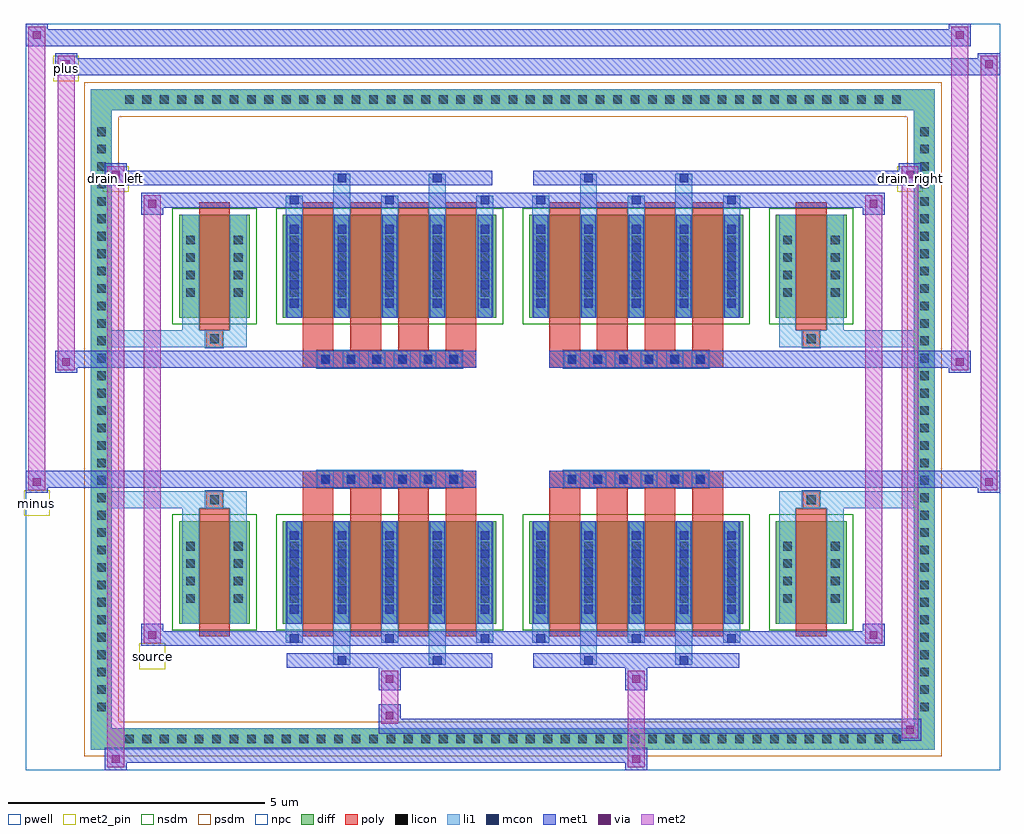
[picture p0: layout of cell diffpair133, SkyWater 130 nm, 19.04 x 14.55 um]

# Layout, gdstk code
import gdstk
lib = gdstk.Library(unit=1e-6, precision=5e-09)
def R(c, l, rs):  # rectangles x0, y0, x1, y1
    for r in rs: c.add(gdstk.rectangle(r[:2], r[2:], *l))
def A(c, l, x, y, w, h, nx, ny, dx, dy):  # array of equal rectangles
    R(c, l, [(x+i*dx, y+j*dy, x+i*dx+w, y+j*dy+h) for i in range(nx) for j in range(ny)])
def P(c, l, *ps):  # polygons
    for p in ps: c.add(gdstk.Polygon(p, *l))
pwell = (64, 44)
diff = (65, 20)
poly = (66, 20)
licon = (66, 44)
li1 = (67, 20)
mcon = (67, 44)
met1 = (68, 20)
via = (68, 44)
met2_pin = (69, 16)
met2 = (69, 20)
nsdm = (93, 44)
psdm = (94, 20)
npc = (95, 20)

diffpair133 = lib.new_cell('diffpair133')
R(diffpair133, pwell, [(-9.5,-6.84,9.5,7.71), (-6.82,-5.03,-0.01,-0.805), (0.01,-5.03,6.82,-0.805), (-6.82,0.805,-0.01,5.03), (0.01,0.805,6.82,5.03)])
A(diffpair133, diff, -7.685, -6.44, 0.41, 0.41, 45, 2, 0.34, 12.47)
A(diffpair133, diff, -8.23, -5.815, 0.41, 0.41, 1, 34, 0, 0.34)
A(diffpair133, diff, 7.82, -5.815, 0.41, 0.41, 1, 34, 0, 0.34)
R(diffpair133, diff, [(-7.685,-6.44,7.685,-6.03), (-8.23,-5.815,-7.82,5.815), (7.82,-5.815,8.23,5.815), (-6.51,-3.985,-5.13,-1.985), (-4.49,-3.985,-0.32,-1.985), (0.32,-3.985,4.49,-1.985), (5.13,-3.985,6.51,-1.985), (-6.51,1.985,-5.13,3.985), (-4.49,1.985,-0.32,3.985), (0.32,1.985,4.49,3.985), (5.13,1.985,6.51,3.985), (-7.685,6.03,7.685,6.44)])
P(diffpair133, diff, [(8.23,6.44),(-8.23,6.44),(-8.23,-6.03),(-7.82,-6.03),(-7.82,6.03),(7.82,6.03),(7.82,-6.03),(-7.82,-6.03),(-8.23,-6.03),(-8.23,-6.44),(8.23,-6.44)])
A(diffpair133, poly, -4.1, -4.235, 0.6, 2.5, 4, 2, 0.93, 5.97)
A(diffpair133, poly, 0.71, -4.235, 0.6, 2.5, 4, 2, 0.93, 5.97)
A(diffpair133, poly, -4.1, -1.735, 0.6, 0.4, 4, 2, 0.93, 3.07)
A(diffpair133, poly, 0.71, -1.735, 0.6, 0.4, 4, 2, 0.93, 3.07)
A(diffpair133, poly, -3.82, -1.335, 0.33, 0.33, 6, 2, 0.5, 2.34)
A(diffpair133, poly, 0.99, -1.335, 0.33, 0.33, 6, 2, 0.5, 2.34)
R(diffpair133, poly, [(-6.12,-4.235,-5.52,-1.735), (5.52,-4.235,6.12,-1.735), (-5.985,-1.735,-5.655,-1.405), (-5.985,-1.735,-5.655,-1.405), (5.655,-1.735,5.985,-1.405), (5.655,-1.735,5.985,-1.405), (-4.1,-1.335,-0.71,-1.005), (0.71,-1.335,4.1,-1.005), (-4.1,1.005,-0.71,1.335), (0.71,1.005,4.1,1.335), (-5.985,1.405,-5.655,1.735), (-5.985,1.405,-5.655,1.735), (5.655,1.405,5.985,1.735), (5.655,1.405,5.985,1.735), (-6.12,1.735,-5.52,4.235), (5.52,1.735,6.12,4.235)])
A(diffpair133, licon, -7.565, -6.32, 0.17, 0.17, 45, 2, 0.34, 12.47)
A(diffpair133, licon, -8.11, -5.695, 0.17, 0.17, 1, 34, 0, 0.34)
A(diffpair133, licon, 7.94, -5.695, 0.17, 0.17, 1, 34, 0, 0.34)
A(diffpair133, licon, -6.37, -3.58, 0.17, 0.17, 1, 4, 0, 0.34)
A(diffpair133, licon, -5.44, -3.58, 0.17, 0.17, 1, 4, 0, 0.34)
A(diffpair133, licon, -4.35, -3.58, 0.17, 0.17, 5, 4, 0.93, 0.34)
A(diffpair133, licon, 0.46, -3.58, 0.17, 0.17, 5, 4, 0.93, 0.34)
A(diffpair133, licon, 5.27, -3.58, 0.17, 0.17, 1, 4, 0, 0.34)
A(diffpair133, licon, 6.2, -3.58, 0.17, 0.17, 1, 4, 0, 0.34)
A(diffpair133, licon, -3.74, -1.255, 0.17, 0.17, 6, 2, 0.5, 2.34)
A(diffpair133, licon, 1.07, -1.255, 0.17, 0.17, 6, 2, 0.5, 2.34)
A(diffpair133, licon, -6.37, 2.39, 0.17, 0.17, 1, 4, 0, 0.34)
A(diffpair133, licon, -5.44, 2.39, 0.17, 0.17, 1, 4, 0, 0.34)
A(diffpair133, licon, -4.35, 2.39, 0.17, 0.17, 5, 4, 0.93, 0.34)
A(diffpair133, licon, 0.46, 2.39, 0.17, 0.17, 5, 4, 0.93, 0.34)
A(diffpair133, licon, 5.27, 2.39, 0.17, 0.17, 1, 4, 0, 0.34)
A(diffpair133, licon, 6.2, 2.39, 0.17, 0.17, 1, 4, 0, 0.34)
R(diffpair133, licon, [(-5.905,-1.655,-5.735,-1.485), (5.735,-1.655,5.905,-1.485), (-5.905,1.485,-5.735,1.655), (5.735,1.485,5.905,1.655)])
A(diffpair133, li1, -7.645, -6.4, 0.33, 0.33, 45, 2, 0.34, 12.47)
A(diffpair133, li1, -8.19, -5.775, 0.33, 0.33, 1, 34, 0, 0.34)
A(diffpair133, li1, 7.86, -5.775, 0.33, 0.33, 1, 34, 0, 0.34)
A(diffpair133, li1, -4.43, -4.36, 0.33, 0.375, 3, 2, 1.86, 8.345)
A(diffpair133, li1, -4.35, -4.36, 0.17, 0.17, 3, 2, 1.86, 8.55)
A(diffpair133, li1, 0.38, -4.36, 0.33, 0.375, 3, 2, 1.86, 8.345)
A(diffpair133, li1, 0.46, -4.36, 0.17, 0.17, 3, 2, 1.86, 8.55)
A(diffpair133, li1, -4.43, -3.985, 0.33, 2, 5, 2, 0.93, 5.97)
A(diffpair133, li1, 0.38, -3.985, 0.33, 2, 5, 2, 0.93, 5.97)
A(diffpair133, li1, -4.35, -3.79, 0.17, 0.17, 5, 5, 0.93, 0.36)
A(diffpair133, li1, -4.35, -3.79, 0.17, 1.61, 5, 2, 0.93, 5.97)
A(diffpair133, li1, 0.46, -3.79, 0.17, 0.17, 5, 5, 0.93, 0.36)
A(diffpair133, li1, 0.46, -3.79, 0.17, 1.61, 5, 2, 0.93, 5.97)
A(diffpair133, li1, -6.45, -3.66, 0.33, 0.33, 1, 4, 0, 0.34)
A(diffpair133, li1, -5.52, -3.66, 0.33, 0.33, 1, 4, 0, 0.34)
A(diffpair133, li1, -4.43, -3.66, 0.33, 0.33, 5, 4, 0.93, 0.34)
A(diffpair133, li1, 0.38, -3.66, 0.33, 0.33, 5, 4, 0.93, 0.34)
A(diffpair133, li1, 5.19, -3.66, 0.33, 0.33, 1, 4, 0, 0.34)
A(diffpair133, li1, 6.12, -3.66, 0.33, 0.33, 1, 4, 0, 0.34)
A(diffpair133, li1, -3.82, -1.335, 0.33, 0.33, 6, 2, 0.5, 2.34)
A(diffpair133, li1, 0.99, -1.335, 0.33, 0.33, 6, 2, 0.5, 2.34)
A(diffpair133, li1, -4.35, 2.18, 0.17, 0.17, 5, 5, 0.93, 0.36)
A(diffpair133, li1, 0.46, 2.18, 0.17, 0.17, 5, 5, 0.93, 0.36)
A(diffpair133, li1, -6.45, 2.31, 0.33, 0.33, 1, 4, 0, 0.34)
A(diffpair133, li1, -5.52, 2.31, 0.33, 0.33, 1, 4, 0, 0.34)
A(diffpair133, li1, -4.43, 2.31, 0.33, 0.33, 5, 4, 0.93, 0.34)
A(diffpair133, li1, 0.38, 2.31, 0.33, 0.33, 5, 4, 0.93, 0.34)
A(diffpair133, li1, 5.19, 2.31, 0.33, 0.33, 1, 4, 0, 0.34)
A(diffpair133, li1, 6.12, 2.31, 0.33, 0.33, 1, 4, 0, 0.34)
R(diffpair133, li1, [(-8.23,-6.44,-7.82,-6.03), (-8.23,-6.44,-7.82,-6.03), (-7.82,-6.44,7.82,-6.03), (7.82,-6.44,8.23,-6.03), (7.82,-6.44,8.23,-6.03), (-8.23,-6.03,-7.82,6.03), (7.82,-6.03,8.23,6.03), (-3.5,-4.79,-3.17,-3.985), (-3.42,-4.79,-3.25,-4.62), (-1.64,-4.79,-1.31,-3.985), (-1.56,-4.79,-1.39,-4.62), (1.31,-4.79,1.64,-3.985), (1.39,-4.79,1.56,-4.62), (3.17,-4.79,3.5,-3.985), (3.25,-4.79,3.42,-4.62), (-6.45,-3.985,-6.12,-1.985), (-5.52,-3.985,-5.19,-1.985), (5.19,-3.985,5.52,-1.985), (6.12,-3.985,6.45,-1.985), (-6.45,-1.985,-6.12,-1.405), (-5.52,-1.985,-5.19,-1.405), (5.19,-1.985,5.52,-1.405), (6.12,-1.985,6.45,-1.405), (-8.23,-1.735,-5.985,-1.405), (-6.45,-1.735,-5.985,-1.405), (-5.985,-1.735,-5.655,-1.405), (-5.655,-1.735,-5.19,-1.405), (5.19,-1.735,5.655,-1.405), (5.655,-1.735,5.985,-1.405), (5.655,-1.735,8.23,-1.405), (5.985,-1.735,6.45,-1.405), (-8.23,1.405,-5.985,1.735), (-6.45,1.405,-5.985,1.735), (-6.45,1.405,-6.12,1.985), (-5.985,1.405,-5.655,1.735), (-5.655,1.405,-5.19,1.735), (-5.52,1.405,-5.19,1.985), (5.19,1.405,5.655,1.735), (5.19,1.405,5.52,1.985), (5.655,1.405,5.985,1.735), (5.655,1.405,8.23,1.735), (5.985,1.405,6.45,1.735), (6.12,1.405,6.45,1.985), (-6.45,1.985,-6.12,3.985), (-5.52,1.985,-5.19,3.985), (5.19,1.985,5.52,3.985), (6.12,1.985,6.45,3.985), (-3.5,3.985,-3.17,4.79), (-1.64,3.985,-1.31,4.79), (1.31,3.985,1.64,4.79), (3.17,3.985,3.5,4.79), (-3.42,4.62,-3.25,4.79), (-1.56,4.62,-1.39,4.79), (1.39,4.62,1.56,4.79), (3.25,4.62,3.42,4.79), (-8.23,6.03,-7.82,6.44), (-8.23,6.03,-7.82,6.44), (-7.82,6.03,7.82,6.44), (7.82,6.03,8.23,6.44), (7.82,6.03,8.23,6.44)])
A(diffpair133, mcon, -4.35, -4.36, 0.17, 0.17, 3, 2, 1.86, 8.55)
A(diffpair133, mcon, 0.46, -4.36, 0.17, 0.17, 3, 2, 1.86, 8.55)
A(diffpair133, mcon, -4.35, -3.79, 0.17, 0.17, 5, 5, 0.93, 0.36)
A(diffpair133, mcon, 0.46, -3.79, 0.17, 0.17, 5, 5, 0.93, 0.36)
A(diffpair133, mcon, -3.74, -1.255, 0.17, 0.17, 6, 2, 0.5, 2.34)
A(diffpair133, mcon, 1.07, -1.255, 0.17, 0.17, 6, 2, 0.5, 2.34)
A(diffpair133, mcon, -4.35, 2.18, 0.17, 0.17, 5, 5, 0.93, 0.36)
A(diffpair133, mcon, 0.46, 2.18, 0.17, 0.17, 5, 5, 0.93, 0.36)
R(diffpair133, mcon, [(-3.42,-4.79,-3.25,-4.62), (-1.56,-4.79,-1.39,-4.62), (1.39,-4.79,1.56,-4.62), (3.25,-4.79,3.42,-4.62), (-3.42,4.62,-3.25,4.79), (-1.56,4.62,-1.39,4.79), (1.39,4.62,1.56,4.79), (3.25,4.62,3.42,4.79)])
A(diffpair133, met1, -4.41, -4.42, 0.29, 0.29, 3, 2, 1.86, 8.55)
A(diffpair133, met1, 0.4, -4.42, 0.29, 0.29, 3, 2, 1.86, 8.55)
A(diffpair133, met1, -4.41, -3.985, 0.29, 2, 5, 2, 0.93, 5.97)
A(diffpair133, met1, 0.4, -3.985, 0.29, 2, 5, 2, 0.93, 5.97)
A(diffpair133, met1, -4.41, -3.85, 0.29, 0.29, 5, 5, 0.93, 0.36)
A(diffpair133, met1, 0.4, -3.85, 0.29, 0.29, 5, 5, 0.93, 0.36)
A(diffpair133, met1, -3.8, -1.315, 0.29, 0.29, 6, 2, 0.5, 2.34)
A(diffpair133, met1, 1.01, -1.315, 0.29, 0.29, 6, 2, 0.5, 2.34)
A(diffpair133, met1, -4.41, 2.12, 0.29, 0.29, 5, 5, 0.93, 0.36)
A(diffpair133, met1, 0.4, 2.12, 0.29, 0.29, 5, 5, 0.93, 0.36)
R(diffpair133, met1, [(-7.96,-6.84,-7.53,-6.41), (2.19,-6.84,2.62,-6.41), (-7.96,-6.7,2.62,-6.41), (7.53,-6.27,7.96,-5.84), (-2.62,-6.13,7.96,-5.84), (-2.62,-5.99,-2.19,-5.56), (-2.62,-5.28,-2.19,-4.85), (2.19,-5.28,2.62,-4.85), (-4.41,-4.85,-0.4,-4.56), (-3.48,-4.85,-3.19,-4.56), (-1.62,-4.85,-1.33,-4.56), (0.4,-4.85,4.41,-4.56), (1.33,-4.85,1.62,-4.56), (3.19,-4.85,3.48,-4.56), (-7.25,-4.42,-6.82,-3.99), (-7.25,-4.42,-4.41,-4.13), (-4.41,-4.42,-0.4,-4.13), (-0.4,-4.42,0.4,-4.13), (0.4,-4.42,4.41,-4.13), (4.41,-4.42,7.25,-4.13), (6.82,-4.42,7.25,-3.99), (-9.5,-1.435,-9.07,-1.005), (9.07,-1.435,9.5,-1.005), (-9.5,-1.335,-0.71,-1.005), (-4.1,-1.335,-0.71,-1.005), (0.71,-1.335,4.1,-1.005), (0.71,-1.335,9.5,-1.005), (-8.93,0.905,-8.5,1.335), (8.5,0.905,8.93,1.335), (-8.93,1.005,-4.1,1.335), (-4.1,1.005,-0.71,1.335), (0.71,1.005,4.1,1.335), (4.1,1.005,8.93,1.335), (-7.25,3.99,-6.82,4.42), (6.82,3.99,7.25,4.42), (-7.25,4.13,-4.41,4.42), (-4.41,4.13,-0.4,4.42), (-0.4,4.13,0.4,4.42), (0.4,4.13,4.41,4.42), (4.41,4.13,7.25,4.42), (-7.96,4.56,-7.53,4.99), (-7.96,4.56,-4.41,4.85), (-4.41,4.56,-0.4,4.85), (-3.48,4.56,-3.19,4.85), (-1.62,4.56,-1.33,4.85), (0.4,4.56,4.41,4.85), (1.33,4.56,1.62,4.85), (3.19,4.56,3.48,4.85), (4.41,4.56,7.96,4.85), (7.53,4.56,7.96,4.99), (-8.93,6.71,-8.5,7.14), (-8.93,6.71,-6.82,7.04), (-6.82,6.71,6.82,7.04), (6.82,6.71,9.5,7.04), (9.07,6.71,9.5,7.14), (-9.5,7.28,-9.07,7.71), (-9.5,7.28,-6.82,7.61), (-6.82,7.28,6.82,7.61), (6.82,7.28,8.93,7.61), (8.5,7.28,8.93,7.71)])
R(diffpair133, via, [(-7.82,-6.7,-7.67,-6.55), (2.33,-6.7,2.48,-6.55), (7.67,-6.13,7.82,-5.98), (-2.48,-5.85,-2.33,-5.7), (-2.48,-5.14,-2.33,-4.99), (2.33,-5.14,2.48,-4.99), (-7.11,-4.28,-6.96,-4.13), (6.96,-4.28,7.11,-4.13), (-9.36,-1.295,-9.21,-1.145), (9.21,-1.295,9.36,-1.145), (-8.79,1.045,-8.64,1.195), (8.64,1.045,8.79,1.195), (-7.11,4.13,-6.96,4.28), (6.96,4.13,7.11,4.28), (-7.82,4.7,-7.67,4.85), (7.67,4.7,7.82,4.85), (-8.79,6.85,-8.64,7), (9.21,6.85,9.36,7), (-9.36,7.42,-9.21,7.57), (8.64,7.42,8.79,7.57)])
R(diffpair133, met2_pin, [(-7.285,-4.87,-6.785,-4.37), (-9.535,-1.885,-9.035,-1.385), (-7.995,4.44,-7.495,4.94), (7.495,4.44,7.995,4.94), (-8.965,6.59,-8.465,7.09)])
R(diffpair133, met2, [(-7.91,-6.79,-7.58,-6.46), (-7.91,-6.79,-7.58,4.94), (2.24,-6.79,2.57,-6.46), (2.24,-6.46,2.57,-5.23), (7.58,-6.22,7.91,-5.89), (7.58,-6.22,7.91,4.94), (-2.57,-5.94,-2.24,-5.61), (-2.57,-5.61,-2.24,-5.23), (-2.57,-5.23,-2.24,-4.9), (2.24,-5.23,2.57,-4.9), (-7.2,-4.37,-6.87,-4.04), (-7.2,-4.37,-6.87,4.37), (6.87,-4.37,7.2,-4.04), (6.87,-4.37,7.2,4.37), (-9.45,-1.385,-9.12,-1.055), (-9.45,-1.385,-9.12,7.66), (9.12,-1.385,9.45,-1.055), (9.12,-1.385,9.45,7.09), (-8.88,0.955,-8.55,1.285), (-8.88,0.955,-8.55,7.09), (8.55,0.955,8.88,1.285), (8.55,0.955,8.88,7.66), (-7.2,4.04,-6.87,4.37), (6.87,4.04,7.2,4.37), (-7.91,4.61,-7.58,4.94), (7.58,4.61,7.91,4.94), (-8.88,6.76,-8.55,7.09), (9.12,6.76,9.45,7.09), (-9.45,7.33,-9.12,7.66), (8.55,7.33,8.88,7.66)])
P(diffpair133, met2, [(9.45,-1.385),(9.45,-1.385),(9.45,-1.055),(9.45,-1.055)],
  [(9.45,6.76),(9.45,6.76),(9.45,7.09),(9.45,7.09)],
  [(-9.12,-1.385),(-9.12,-1.385),(-9.12,-1.055),(-9.12,-1.055)],
  [(-9.12,7.33),(-9.12,7.33),(-9.12,7.66),(-9.12,7.66)],
  [(8.88,0.955),(8.88,0.955),(8.88,1.285),(8.88,1.285)],
  [(8.88,7.33),(8.88,7.33),(8.88,7.66),(8.88,7.66)],
  [(-8.55,0.955),(-8.55,0.955),(-8.55,1.285),(-8.55,1.285)],
  [(-8.55,6.76),(-8.55,6.76),(-8.55,7.09),(-8.55,7.09)],
  [(-7.58,-6.79),(-7.58,-6.79),(-7.58,-6.46),(-7.58,-6.46)],
  [(-7.58,4.61),(-7.58,4.61),(-7.58,4.94),(-7.58,4.94)],
  [(7.91,-6.22),(7.91,-6.22),(7.91,-5.89),(7.91,-5.89)],
  [(7.91,4.61),(7.91,4.61),(7.91,4.94),(7.91,4.94)],
  [(-6.87,-4.37),(-6.87,-4.37),(-6.87,-4.04),(-6.87,-4.04)],
  [(-6.87,4.04),(-6.87,4.04),(-6.87,4.37),(-6.87,4.37)],
  [(7.2,-4.37),(7.2,-4.37),(7.2,-4.04),(7.2,-4.04)],
  [(7.2,4.04),(7.2,4.04),(7.2,4.37),(7.2,4.37)])
R(diffpair133, nsdm, [(-6.64,-4.115,-5,-1.855), (-4.62,-4.115,-0.19,-1.855), (0.19,-4.115,4.62,-1.855), (5,-4.115,6.64,-1.855), (-6.64,1.855,-5,4.115), (-4.62,1.855,-0.19,4.115), (0.19,1.855,4.62,4.115), (5,1.855,6.64,4.115)])
P(diffpair133, psdm, [(8.36,6.57),(-8.36,6.57),(-8.36,-5.9),(-7.69,-5.9),(-7.69,5.9),(7.69,5.9),(7.69,-5.9),(-7.69,-5.9),(-8.36,-5.9),(-8.36,-6.57),(8.36,-6.57)])
A(diffpair133, npc, -3.84, -1.355, 0.37, 0.37, 6, 2, 0.5, 2.34)
A(diffpair133, npc, 0.97, -1.355, 0.37, 0.37, 6, 2, 0.5, 2.34)
R(diffpair133, npc, [(-6.005,-1.755,-5.635,-1.385), (5.635,-1.755,6.005,-1.385), (-3.84,-1.355,-2.97,-0.985), (-3.84,-1.355,-2.97,-0.985), (-3.34,-1.355,-2.47,-0.985), (-3.34,-1.355,-2.47,-0.985), (-2.84,-1.355,-1.97,-0.985), (-2.84,-1.355,-1.97,-0.985), (-2.34,-1.355,-1.47,-0.985), (-2.34,-1.355,-1.47,-0.985), (-1.84,-1.355,-0.97,-0.985), (-1.84,-1.355,-0.97,-0.985), (0.97,-1.355,1.84,-0.985), (0.97,-1.355,1.84,-0.985), (1.47,-1.355,2.34,-0.985), (1.47,-1.355,2.34,-0.985), (1.97,-1.355,2.84,-0.985), (1.97,-1.355,2.84,-0.985), (2.47,-1.355,3.34,-0.985), (2.47,-1.355,3.34,-0.985), (2.97,-1.355,3.84,-0.985), (2.97,-1.355,3.84,-0.985), (-3.84,0.985,-2.97,1.355), (-3.84,0.985,-2.97,1.355), (-3.34,0.985,-2.47,1.355), (-3.34,0.985,-2.47,1.355), (-2.84,0.985,-1.97,1.355), (-2.84,0.985,-1.97,1.355), (-2.34,0.985,-1.47,1.355), (-2.34,0.985,-1.47,1.355), (-1.84,0.985,-0.97,1.355), (-1.84,0.985,-0.97,1.355), (0.97,0.985,1.84,1.355), (0.97,0.985,1.84,1.355), (1.47,0.985,2.34,1.355), (1.47,0.985,2.34,1.355), (1.97,0.985,2.84,1.355), (1.97,0.985,2.84,1.355), (2.47,0.985,3.34,1.355), (2.47,0.985,3.34,1.355), (2.97,0.985,3.84,1.355), (2.97,0.985,3.84,1.355), (-6.005,1.385,-5.635,1.755), (5.635,1.385,6.005,1.755)])
diffpair133.add(gdstk.Label('minus', (-9.285,-1.635), layer=69, texttype=5))
diffpair133.add(gdstk.Label('drain_right', (7.745,4.69), layer=69, texttype=5))
diffpair133.add(gdstk.Label('drain_left', (-7.745,4.69), layer=69, texttype=5))
diffpair133.add(gdstk.Label('source', (-7.035,-4.62), layer=69, texttype=5))
diffpair133.add(gdstk.Label('plus', (-8.715,6.84), layer=69, texttype=5))

lib.write_gds('diffpair133.gds')
